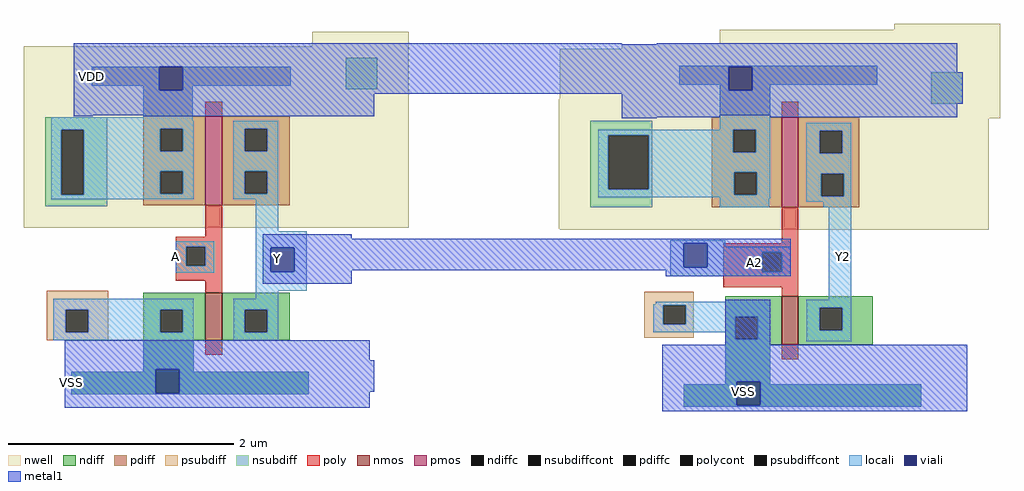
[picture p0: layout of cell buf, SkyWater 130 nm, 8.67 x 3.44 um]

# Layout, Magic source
magic
tech sky130A
<< nwell >>
rect 602 259 696 264
rect 85 244 171 257
rect 447 247 696 259
rect 391 246 696 247
rect -171 83 171 244
rect 360 242 696 246
rect 305 197 696 242
rect 304 180 696 197
rect 304 82 686 180
rect 305 81 686 82
<< nmos >>
rect -10 -17 5 25
rect 502 -21 517 22
<< pmos >>
rect -10 103 5 182
rect 502 101 517 181
<< ndiff >>
rect -65 10 -10 25
rect -65 -10 -50 10
rect -30 -10 -10 10
rect -65 -17 -10 -10
rect 5 10 65 25
rect 5 -10 25 10
rect 45 -10 65 10
rect 5 -17 65 -10
rect 452 4 502 22
rect 452 -16 461 4
rect 481 -16 502 4
rect -65 -45 -20 -17
rect 452 -21 502 -16
rect 517 12 583 22
rect 517 -8 536 12
rect 556 -8 583 12
rect 517 -21 583 -8
rect -129 -65 82 -45
rect 452 -56 492 -21
rect 415 -76 626 -56
<< pdiff >>
rect -111 209 66 226
rect -65 182 -21 209
rect 411 210 587 227
rect -65 171 -10 182
rect -65 151 -50 171
rect -30 151 -10 171
rect -65 133 -10 151
rect -65 113 -50 133
rect -30 113 -10 133
rect -65 103 -10 113
rect 5 171 65 182
rect 447 181 492 210
rect 5 151 25 171
rect 45 151 65 171
rect 5 133 65 151
rect 5 113 25 133
rect 45 113 65 133
rect 5 103 65 113
rect 440 170 502 181
rect 440 150 459 170
rect 479 150 502 170
rect 440 132 502 150
rect 440 112 460 132
rect 480 112 502 132
rect 440 101 502 112
rect 517 169 571 181
rect 517 149 536 169
rect 556 149 571 169
rect 517 131 571 149
rect 517 111 537 131
rect 557 111 571 131
rect 517 101 571 111
<< ndiffc >>
rect -50 -10 -30 10
rect 25 -10 45 10
rect 461 -16 481 4
rect 536 -8 556 12
<< pdiffc >>
rect -50 151 -30 171
rect -50 113 -30 133
rect 25 151 45 171
rect 25 113 45 133
rect 459 150 479 170
rect 460 112 480 132
rect 536 149 556 169
rect 537 111 557 131
<< psubdiff >>
rect -151 10 -96 27
rect -151 -10 -134 10
rect -114 -10 -96 10
rect -151 -17 -96 -10
rect 380 14 424 26
rect 380 -3 397 14
rect 417 -3 424 14
rect 380 -15 424 -3
<< nsubdiff >>
rect 115 206 143 234
rect -152 170 -97 181
rect -152 112 -138 170
rect -118 112 -97 170
rect -152 102 -97 112
rect 635 193 663 221
rect 332 165 387 178
rect 332 117 348 165
rect 384 117 387 165
rect 332 101 387 117
<< psubdiffcont >>
rect -134 -10 -114 10
rect 397 -3 417 14
<< nsubdiffcont >>
rect -138 112 -118 170
rect 348 117 384 165
<< poly >>
rect -10 182 5 195
rect 502 181 517 195
rect -10 75 5 103
rect -36 66 5 75
rect 502 69 517 101
rect -36 49 -27 66
rect -10 49 5 66
rect -36 36 5 49
rect -10 25 5 36
rect 450 61 517 69
rect 450 44 485 61
rect 502 44 517 61
rect 450 30 517 44
rect 502 22 517 30
rect -10 -30 5 -17
rect 502 -34 517 -21
<< polycont >>
rect -27 49 -10 66
rect 485 44 502 61
<< locali >>
rect 411 226 587 227
rect -111 209 -51 226
rect -65 205 -51 209
rect -30 209 66 226
rect 411 210 455 226
rect -30 205 -21 209
rect -65 181 -21 205
rect -147 178 -21 181
rect 447 205 455 210
rect 476 210 587 226
rect 476 205 492 210
rect -147 171 -20 178
rect -147 170 -50 171
rect -147 112 -138 170
rect -118 151 -50 170
rect -30 151 -20 171
rect -118 133 -20 151
rect -118 113 -50 133
rect -30 113 -20 133
rect -118 112 -20 113
rect -147 108 -20 112
rect 15 171 55 178
rect 15 151 25 171
rect 45 151 55 171
rect 447 170 492 205
rect 15 133 55 151
rect 15 113 25 133
rect 45 113 55 133
rect 15 108 55 113
rect 339 165 459 170
rect 339 117 348 165
rect 384 150 459 165
rect 479 150 492 170
rect 384 132 492 150
rect 384 117 460 132
rect 339 112 460 117
rect 480 112 492 132
rect 339 110 492 112
rect 35 80 55 108
rect 447 109 492 110
rect 524 169 564 176
rect 524 149 536 169
rect 556 149 564 169
rect 524 131 564 149
rect 524 111 537 131
rect 557 111 564 131
rect 447 101 491 109
rect 524 106 564 111
rect 539 101 564 106
rect -36 66 -2 71
rect -36 49 -27 66
rect -10 49 -2 66
rect -36 43 -2 49
rect 35 65 80 80
rect 35 44 48 65
rect 69 44 80 65
rect 35 27 80 44
rect 403 69 452 72
rect 403 48 415 69
rect 436 66 452 69
rect 436 61 510 66
rect 436 48 485 61
rect 403 44 485 48
rect 502 44 510 61
rect 403 40 510 44
rect 35 20 55 27
rect -145 10 -20 20
rect -145 -10 -134 10
rect -114 -10 -50 10
rect -30 -10 -20 10
rect -145 -17 -20 -10
rect 15 10 55 20
rect 544 19 564 101
rect 452 17 492 19
rect 390 15 492 17
rect 15 -10 25 10
rect 45 -10 55 10
rect 388 14 492 15
rect 388 -3 397 14
rect 417 4 492 14
rect 417 -3 461 4
rect 388 -10 461 -3
rect 15 -17 55 -10
rect 452 -16 461 -10
rect 481 -16 492 4
rect -65 -43 -20 -17
rect -65 -45 -54 -43
rect -129 -64 -54 -45
rect -33 -45 -20 -43
rect -33 -64 82 -45
rect 452 -54 492 -16
rect 524 12 564 19
rect 524 -8 536 12
rect 556 -8 564 12
rect 524 -18 564 -8
rect 452 -56 462 -54
rect -129 -65 82 -64
rect 415 -75 462 -56
rect 483 -56 492 -54
rect 483 -75 626 -56
rect 415 -76 626 -75
<< viali >>
rect -51 205 -30 226
rect 455 205 476 226
rect 48 44 69 65
rect 415 48 436 69
rect -54 -64 -33 -43
rect 462 -75 483 -54
<< metal1 >>
rect -127 246 360 247
rect 391 246 658 247
rect -127 226 658 246
rect -127 205 -51 226
rect -30 205 455 226
rect 476 221 658 226
rect 476 205 663 221
rect -127 202 663 205
rect -127 183 140 202
rect -127 182 -110 183
rect -65 182 140 183
rect 360 193 663 202
rect 360 183 658 193
rect 360 181 447 183
rect 492 181 658 183
rect 360 180 391 181
rect 41 73 120 77
rect 41 69 510 73
rect 41 65 415 69
rect 41 44 48 65
rect 69 48 415 65
rect 436 48 510 69
rect 69 45 510 48
rect 69 44 120 45
rect 41 33 120 44
rect 399 40 510 45
rect -135 -35 136 -17
rect 452 -21 492 19
rect -135 -43 140 -35
rect -135 -64 -54 -43
rect -33 -63 140 -43
rect 396 -54 667 -21
rect -33 -64 136 -63
rect -135 -77 136 -64
rect 396 -75 462 -54
rect 483 -75 667 -54
rect 396 -80 667 -75
<< labels >>
rlabel locali -36 57 -36 57 7 A
port 1 w
rlabel metal1 -111 217 -111 217 7 VDD
port 3 w
rlabel metal1 -129 -55 -129 -55 7 VSS
port 4 w
rlabel viali 54 56 54 56 3 Y
port 2 e
rlabel locali 478 52 478 52 3 A2
port 6 e
rlabel locali 557 57 557 57 7 Y2
port 7 w
rlabel viali 468 -63 468 -63 1 VSS
<< end >>
